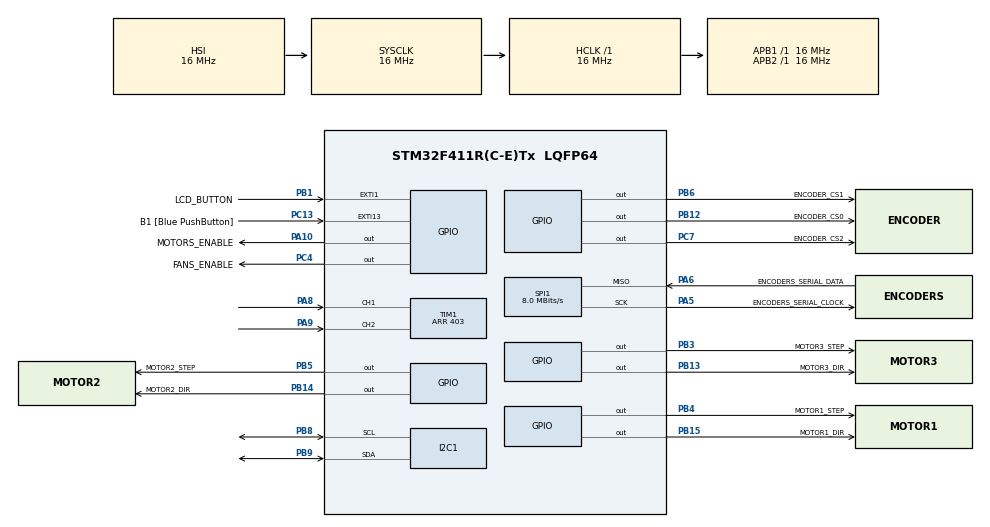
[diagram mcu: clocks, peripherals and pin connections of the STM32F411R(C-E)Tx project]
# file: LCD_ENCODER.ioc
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Mcu.Family=STM32F4
Mcu.Name=STM32F411R(C-E)Tx
Mcu.Package=LQFP64
NVIC.EXTI1_IRQn=true\:0\:0\:false\:false\:true\:true
NVIC.PriorityGroup=NVIC_PRIORITYGROUP_4
PA10.GPIO_Label=MOTORS_ENABLE
PA10.Signal=GPIO_Output
PA2.Signal=USART2_TX
PA3.Signal=USART2_RX
PA5.GPIO_Label=ENCODERS_SERIAL_CLOCK
PA5.Mode=RX_Only_Simplex_Unidirect_Master
PA5.Signal=SPI1_SCK
PA6.GPIO_Label=ENCODERS_SERIAL_DATA
PA6.Mode=RX_Only_Simplex_Unidirect_Master
PA6.Signal=SPI1_MISO
PA8.Signal=S_TIM1_CH1
PA9.Signal=S_TIM1_CH2
PB1.GPIO_Label=LCD_BUTTON
PB1.Signal=GPXTI1
PB12.GPIO_Label=ENCODER_CS0
PB12.Signal=GPIO_Output
PB13.GPIO_Label=MOTOR3_DIR
PB13.Signal=GPIO_Output
PB14.GPIO_Label=MOTOR2_DIR
PB14.Signal=GPIO_Output
PB15.GPIO_Label=MOTOR1_DIR
PB15.Signal=GPIO_Output
PB3.GPIO_Label=MOTOR3_STEP
PB3.Signal=GPIO_Output
PB4.GPIO_Label=MOTOR1_STEP
PB4.Signal=GPIO_Output
PB5.GPIO_Label=MOTOR2_STEP
PB5.Signal=GPIO_Output
PB6.GPIO_Label=ENCODER_CS1
PB6.PinState=GPIO_PIN_RESET
PB6.Signal=GPIO_Output
PB8.Mode=I2C
PB8.Signal=I2C1_SCL
PB9.Mode=I2C
PB9.Signal=I2C1_SDA
PC13-ANTI_TAMP.GPIO_Label=B1 [Blue PushButton]
PC13-ANTI_TAMP.Signal=GPXTI13
PC14-OSC32_IN.Signal=RCC_OSC32_IN
PC15-OSC32_OUT.Signal=RCC_OSC32_OUT
PC4.GPIO_Label=FANS_ENABLE
PC4.Signal=GPIO_Output
PC7.GPIO_Label=ENCODER_CS2
PC7.PinState=GPIO_PIN_SET
PC7.Signal=GPIO_Output
PH0\ -\ OSC_IN.Mode=HSE-External-Oscillator
PH0\ -\ OSC_IN.Signal=RCC_OSC_IN
PH1\ -\ OSC_OUT.Mode=HSE-External-Oscillator
PH1\ -\ OSC_OUT.Signal=RCC_OSC_OUT
ProjectManager.HeapSize=0x200
ProjectManager.StackSize=0x400
ProjectManager.TargetToolchain=SW4STM32
RCC.AHBFreq_Value=16000000
RCC.APB1Freq_Value=16000000
RCC.APB2Freq_Value=16000000
RCC.CortexFreq_Value=16000000
RCC.HSE_VALUE=25000000
RCC.HSI_VALUE=16000000
RCC.LSE_VALUE=32768
RCC.SYSCLKFreq_VALUE=16000000
RCC.VCOOutputFreq_Value=192000000
SH.S_TIM1_CH1.0=TIM1_CH1,Encoder_Interface
SH.S_TIM1_CH2.0=TIM1_CH2,Encoder_Interface
SPI1.CalculateBaudRate=8.0 MBits/s
SPI1.Direction=SPI_DIRECTION_2LINES_RXONLY
SPI1.Mode=SPI_MODE_MASTER
SPI1.VirtualType=VM_MASTER
TIM1.EncoderMode=TIM_ENCODERMODE_TI12
TIM1.IC1Filter=15
TIM1.IC2Filter=15
TIM1.Period=403
board=LCD_ENCODER

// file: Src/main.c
/**
  ******************************************************************************
  * File Name          : main.c
  * Description        : Main program body
  ******************************************************************************
  ** This notice applies to any and all portions of this file
  * that are not between comment pairs USER CODE BEGIN and
  * USER CODE END. Other portions of this file, whether
  * inserted by the user or by software development tools
  * are owned by their respective copyright owners.
  *
  * COPYRIGHT(c) 2017 STMicroelectronics
  *
  * Redistribution and use in source and binary forms, with or without modification,
  * are permitted provided that the following conditions are met:
  *   1. Redistributions of source code must retain the above copyright notice,
  *      this list of conditions and the following disclaimer.
  *   2. Redistributions in binary form must reproduce the above copyright notice,
  *      this list of conditions and the following disclaimer in the documentation
  *      and/or other materials provided with the distribution.
  *   3. Neither the name of STMicroelectronics nor the names of its contributors
  *      may be used to endorse or promote products derived from this software
  *      without specific prior written permission.
  *
  * THIS SOFTWARE IS PROVIDED BY THE COPYRIGHT HOLDERS AND CONTRIBUTORS "AS IS"
  * AND ANY EXPRESS OR IMPLIED WARRANTIES, INCLUDING, BUT NOT LIMITED TO, THE
  * IMPLIED WARRANTIES OF MERCHANTABILITY AND FITNESS FOR A PARTICULAR PURPOSE ARE
  * DISCLAIMED. IN NO EVENT SHALL THE COPYRIGHT HOLDER OR CONTRIBUTORS BE LIABLE
  * FOR ANY DIRECT, INDIRECT, INCIDENTAL, SPECIAL, EXEMPLARY, OR CONSEQUENTIAL
  * DAMAGES (INCLUDING, BUT NOT LIMITED TO, PROCUREMENT OF SUBSTITUTE GOODS OR
  * SERVICES; LOSS OF USE, DATA, OR PROFITS; OR BUSINESS INTERRUPTION) HOWEVER
  * CAUSED AND ON ANY THEORY OF LIABILITY, WHETHER IN CONTRACT, STRICT LIABILITY,
  * OR TORT (INCLUDING NEGLIGENCE OR OTHERWISE) ARISING IN ANY WAY OUT OF THE USE
  * OF THIS SOFTWARE, EVEN IF ADVISED OF THE POSSIBILITY OF SUCH DAMAGE.
  *
  ******************************************************************************
  */

#include "main.h"
#include "stm32f4xx_hal.h"

/* USER CODE BEGIN Includes */
#include <stdbool.h>
#include "HD44780-master\\hd44780.h"
#include "PCF8574-master\\pcf8574.h"
#include "Struct&Fun.h"
/* USER CODE END Includes */

I2C_HandleTypeDef hi2c1;

SPI_HandleTypeDef hspi1;

TIM_HandleTypeDef htim1;

/* USER CODE BEGIN PV */
/* Private variables ---------------------------------------------------------*/
LCD_PCF8574_HandleTypeDef lcd;
volatile uint16_t pulse_count; // Licznik impulsow TRZEBA PODPI�� D8 (A) i D7 (B)
volatile uint16_t positions; // Licznik przekreconych pozycji
bool isPressed=0; //zmienna czy przycisk wci�ni�ty 1=tak , 0=nie jeszcze bez kodu inicjalizuj�cego
/* USER CODE END PV */

void SystemClock_Config(void);
static void MX_GPIO_Init(void);
static void MX_I2C1_Init(void);
static void MX_TIM1_Init(void);
static void MX_SPI1_Init(void);

/* USER CODE BEGIN PFP */
/* Private function prototypes -----------------------------------------------*/
void HAL_GPIO_EXTI_Callback(uint16_t GPIO_Pin){//obsluga przycisku
	 if(GPIO_Pin == LCD_BUTTON_Pin)
	 {
		 isPressed = true;
	 }
}
/* USER CODE END PFP */

int main(void)
{

  /* MCU Configuration----------------------------------------------------------*/

  /* Reset of all peripherals, Initializes the Flash interface and the Systick. */
  HAL_Init();

  /* Configure the system clock */
  SystemClock_Config();

  /* Initialize all configured peripherals */
  MX_GPIO_Init();
  MX_I2C1_Init();
  MX_TIM1_Init();
  MX_SPI1_Init();

  /* USER CODE BEGIN 2 */
  HAL_TIM_Encoder_Start(&htim1, TIM_CHANNEL_ALL);

  HAL_Init();

    	HAL_NVIC_SetPriorityGrouping(NVIC_PRIORITYGROUP_4);
    	HAL_NVIC_SetPriority(SysTick_IRQn, 0, 1);

    	lcd.pcf8574.PCF_I2C_ADDRESS = 7;
    	lcd.pcf8574.PCF_I2C_TIMEOUT = 1000;
    	lcd.pcf8574.i2c.Instance = I2C1;
    	lcd.pcf8574.i2c.Init.ClockSpeed = 400000;
    	lcd.NUMBER_OF_LINES = NUMBER_OF_LINES_2;
    	lcd.type = TYPE0;

    	if(LCD_Init(&lcd)!=LCD_OK){
    			// error occured
    			while(1);
    		}

    	LCD_ClearDisplay(&lcd);
    	LCD_SetLocation(&lcd, 0, 0);
    	LCD_WriteString(&lcd, "Choose option:");
   		LCD_SetLocation(&lcd, 0, 1);
   		LCD_WriteString(&lcd, "1. Do sth");

   		menu stm = stworz();//stworzenie menu
  /* USER CODE END 2 */

  /* Infinite loop */
  /* USER CODE BEGIN WHILE */
  while (1)
  {
	  pulse_count = TIM1->CNT; // przepisanie wartosci z rejestru timera
	 	  positions = pulse_count/4; // zeskalowanie impulsow do liczby stabilnych pozycji walu enkodera

	 	  switch( positions % 4)
	 	  {
	 	  case 3 :
	 		  stm.zaprogram(&lcd);
	 	      break;

	 	  case 2 :
	 		  stm.tryb(&lcd);
	 	      break;

	 	  case 1 :
	 		  stm.zatrzymaj(&lcd);
	 	  	  break;

	 	  case 0 :
	 		 LCD_SetLocation(&lcd, 0, 1);
	 		 LCD_WriteString(&lcd, "4. Exit   ");
	 	      break;
	 	  }
  /* USER CODE END WHILE */

  }

}

/** System Clock Configuration
*/
void SystemClock_Config(void)
{

  RCC_OscInitTypeDef RCC_OscInitStruct;
  RCC_ClkInitTypeDef RCC_ClkInitStruct;

    /**Configure the main internal regulator output voltage
    */
  __HAL_RCC_PWR_CLK_ENABLE();

  __HAL_PWR_VOLTAGESCALING_CONFIG(PWR_REGULATOR_VOLTAGE_SCALE1);

    /**Initializes the CPU, AHB and APB busses clocks
    */
  RCC_OscInitStruct.OscillatorType = RCC_OSCILLATORTYPE_HSI;
  RCC_OscInitStruct.HSIState = RCC_HSI_ON;
  RCC_OscInitStruct.HSICalibrationValue = 16;
  RCC_OscInitStruct.PLL.PLLState = RCC_PLL_NONE;
  if (HAL_RCC_OscConfig(&RCC_OscInitStruct) != HAL_OK)
  {
    _Error_Handler(__FILE__, __LINE__);
  }

    /**Initializes the CPU, AHB and APB busses clocks
    */
  RCC_ClkInitStruct.ClockType = RCC_CLOCKTYPE_HCLK|RCC_CLOCKTYPE_SYSCLK
                              |RCC_CLOCKTYPE_PCLK1|RCC_CLOCKTYPE_PCLK2;
  RCC_ClkInitStruct.SYSCLKSource = RCC_SYSCLKSOURCE_HSI;
  RCC_ClkInitStruct.AHBCLKDivider = RCC_SYSCLK_DIV1;
  RCC_ClkInitStruct.APB1CLKDivider = RCC_HCLK_DIV1;
  RCC_ClkInitStruct.APB2CLKDivider = RCC_HCLK_DIV1;

  if (HAL_RCC_ClockConfig(&RCC_ClkInitStruct, FLASH_LATENCY_0) != HAL_OK)
  {
    _Error_Handler(__FILE__, __LINE__);
  }

    /**Configure the Systick interrupt time
    */
  HAL_SYSTICK_Config(HAL_RCC_GetHCLKFreq()/1000);

    /**Configure the Systick
    */
  HAL_SYSTICK_CLKSourceConfig(SYSTICK_CLKSOURCE_HCLK);

  /* SysTick_IRQn interrupt configuration */
  HAL_NVIC_SetPriority(SysTick_IRQn, 0, 0);
}

/* I2C1 init function */
static void MX_I2C1_Init(void)
{

  hi2c1.Instance = I2C1;
  hi2c1.Init.ClockSpeed = 100000;
  hi2c1.Init.DutyCycle = I2C_DUTYCYCLE_2;
  hi2c1.Init.OwnAddress1 = 0;
  hi2c1.Init.AddressingMode = I2C_ADDRESSINGMODE_7BIT;
  hi2c1.Init.DualAddressMode = I2C_DUALADDRESS_DISABLE;
  hi2c1.Init.OwnAddress2 = 0;
  hi2c1.Init.GeneralCallMode = I2C_GENERALCALL_DISABLE;
  hi2c1.Init.NoStretchMode = I2C_NOSTRETCH_DISABLE;
  if (HAL_I2C_Init(&hi2c1) != HAL_OK)
  {
    _Error_Handler(__FILE__, __LINE__);
  }

}

/* SPI1 init function */
static void MX_SPI1_Init(void)
{

  /* SPI1 parameter configuration*/
  hspi1.Instance = SPI1;
  hspi1.Init.Mode = SPI_MODE_MASTER;
  hspi1.Init.Direction = SPI_DIRECTION_2LINES_RXONLY;
  hspi1.Init.DataSize = SPI_DATASIZE_8BIT;
  hspi1.Init.CLKPolarity = SPI_POLARITY_LOW;
  hspi1.Init.CLKPhase = SPI_PHASE_1EDGE;
  hspi1.Init.NSS = SPI_NSS_SOFT;
  hspi1.Init.BaudRatePrescaler = SPI_BAUDRATEPRESCALER_2;
  hspi1.Init.FirstBit = SPI_FIRSTBIT_MSB;
  hspi1.Init.TIMode = SPI_TIMODE_DISABLE;
  hspi1.Init.CRCCalculation = SPI_CRCCALCULATION_DISABLE;
  hspi1.Init.CRCPolynomial = 10;
  if (HAL_SPI_Init(&hspi1) != HAL_OK)
  {
    _Error_Handler(__FILE__, __LINE__);
  }

}

/* TIM1 init function */
static void MX_TIM1_Init(void)
{

  TIM_Encoder_InitTypeDef sConfig;
  TIM_MasterConfigTypeDef sMasterConfig;

  htim1.Instance = TIM1;
  htim1.Init.Prescaler = 0;
  htim1.Init.CounterMode = TIM_COUNTERMODE_UP;
  htim1.Init.Period = 403;
  htim1.Init.ClockDivision = TIM_CLOCKDIVISION_DIV1;
  htim1.Init.RepetitionCounter = 0;
  sConfig.EncoderMode = TIM_ENCODERMODE_TI12;
  sConfig.IC1Polarity = TIM_ICPOLARITY_RISING;
  sConfig.IC1Selection = TIM_ICSELECTION_DIRECTTI;
  sConfig.IC1Prescaler = TIM_ICPSC_DIV1;
  sConfig.IC1Filter = 15;
  sConfig.IC2Polarity = TIM_ICPOLARITY_RISING;
  sConfig.IC2Selection = TIM_ICSELECTION_DIRECTTI;
  sConfig.IC2Prescaler = TIM_ICPSC_DIV1;
  sConfig.IC2Filter = 15;
  if (HAL_TIM_Encoder_Init(&htim1, &sConfig) != HAL_OK)
  {
    _Error_Handler(__FILE__, __LINE__);
  }

  sMasterConfig.MasterOutputTrigger = TIM_TRGO_RESET;
  sMasterConfig.MasterSlaveMode = TIM_MASTERSLAVEMODE_DISABLE;
  if (HAL_TIMEx_MasterConfigSynchronization(&htim1, &sMasterConfig) != HAL_OK)
  {
    _Error_Handler(__FILE__, __LINE__);
  }

}

/** Configure pins as
        * Analog
        * Input
        * Output
        * EVENT_OUT
        * EXTI
     PA2   ------> USART2_TX
     PA3   ------> USART2_RX
*/
static void MX_GPIO_Init(void)
{

  GPIO_InitTypeDef GPIO_InitStruct;

  /* GPIO Ports Clock Enable */
  __HAL_RCC_GPIOC_CLK_ENABLE();
  __HAL_RCC_GPIOH_CLK_ENABLE();
  __HAL_RCC_GPIOA_CLK_ENABLE();
  __HAL_RCC_GPIOB_CLK_ENABLE();

  /*Configure GPIO pin Output Level */
  HAL_GPIO_WritePin(FANS_ENABLE_GPIO_Port, FANS_ENABLE_Pin, GPIO_PIN_RESET);

  /*Configure GPIO pin Output Level */
  HAL_GPIO_WritePin(GPIOB, ENCODER_CS0_Pin|MOTOR3_DIR_Pin|MOTOR2_DIR_Pin|MOTOR1_DIR_Pin
                          |MOTOR3_STEP_Pin|MOTOR1_STEP_Pin|MOTOR2_STEP_Pin|ENCODER_CS1_Pin, GPIO_PIN_RESET);

  /*Configure GPIO pin Output Level */
  HAL_GPIO_WritePin(ENCODER_CS2_GPIO_Port, ENCODER_CS2_Pin, GPIO_PIN_SET);

  /*Configure GPIO pin Output Level */
  HAL_GPIO_WritePin(MOTORS_ENABLE_GPIO_Port, MOTORS_ENABLE_Pin, GPIO_PIN_RESET);

  /*Configure GPIO pin : B1_Pin */
  GPIO_InitStruct.Pin = B1_Pin;
  GPIO_InitStruct.Mode = GPIO_MODE_IT_RISING;
  GPIO_InitStruct.Pull = GPIO_NOPULL;
  HAL_GPIO_Init(B1_GPIO_Port, &GPIO_InitStruct);

  /*Configure GPIO pins : PA2 PA3 */
  GPIO_InitStruct.Pin = GPIO_PIN_2|GPIO_PIN_3;
  GPIO_InitStruct.Mode = GPIO_MODE_AF_PP;
  GPIO_InitStruct.Pull = GPIO_NOPULL;
  GPIO_InitStruct.Speed = GPIO_SPEED_FREQ_VERY_HIGH;
  GPIO_InitStruct.Alternate = GPIO_AF7_USART2;
  HAL_GPIO_Init(GPIOA, &GPIO_InitStruct);

  /*Configure GPIO pins : FANS_ENABLE_Pin ENCODER_CS2_Pin */
  GPIO_InitStruct.Pin = FANS_ENABLE_Pin|ENCODER_CS2_Pin;
  GPIO_InitStruct.Mode = GPIO_MODE_OUTPUT_PP;
  GPIO_InitStruct.Pull = GPIO_NOPULL;
  GPIO_InitStruct.Speed = GPIO_SPEED_FREQ_LOW;
  HAL_GPIO_Init(GPIOC, &GPIO_InitStruct);

  /*Configure GPIO pin : LCD_BUTTON_Pin */
  GPIO_InitStruct.Pin = LCD_BUTTON_Pin;
  GPIO_InitStruct.Mode = GPIO_MODE_IT_RISING;
  GPIO_InitStruct.Pull = GPIO_NOPULL;
  HAL_GPIO_Init(LCD_BUTTON_GPIO_Port, &GPIO_InitStruct);

  /*Configure GPIO pins : ENCODER_CS0_Pin MOTOR3_DIR_Pin MOTOR2_DIR_Pin MOTOR1_DIR_Pin
                           MOTOR3_STEP_Pin MOTOR1_STEP_Pin MOTOR2_STEP_Pin ENCODER_CS1_Pin */
  GPIO_InitStruct.Pin = ENCODER_CS0_Pin|MOTOR3_DIR_Pin|MOTOR2_DIR_Pin|MOTOR1_DIR_Pin
                          |MOTOR3_STEP_Pin|MOTOR1_STEP_Pin|MOTOR2_STEP_Pin|ENCODER_CS1_Pin;
  GPIO_InitStruct.Mode = GPIO_MODE_OUTPUT_PP;
  GPIO_InitStruct.Pull = GPIO_NOPULL;
  GPIO_InitStruct.Speed = GPIO_SPEED_FREQ_LOW;
  HAL_GPIO_Init(GPIOB, &GPIO_InitStruct);

  /*Configure GPIO pin : MOTORS_ENABLE_Pin */
  GPIO_InitStruct.Pin = MOTORS_ENABLE_Pin;
  GPIO_InitStruct.Mode = GPIO_MODE_OUTPUT_PP;
  GPIO_InitStruct.Pull = GPIO_NOPULL;
  GPIO_InitStruct.Speed = GPIO_SPEED_FREQ_LOW;
  HAL_GPIO_Init(MOTORS_ENABLE_GPIO_Port, &GPIO_InitStruct);

  /* EXTI interrupt init*/
  HAL_NVIC_SetPriority(EXTI1_IRQn, 0, 0);
  HAL_NVIC_EnableIRQ(EXTI1_IRQn);

}

void _Error_Handler(char * file, int line)
{
  while(1)
  {
  }
}

/************************ (C) COPYRIGHT STMicroelectronics *****END OF FILE****/
